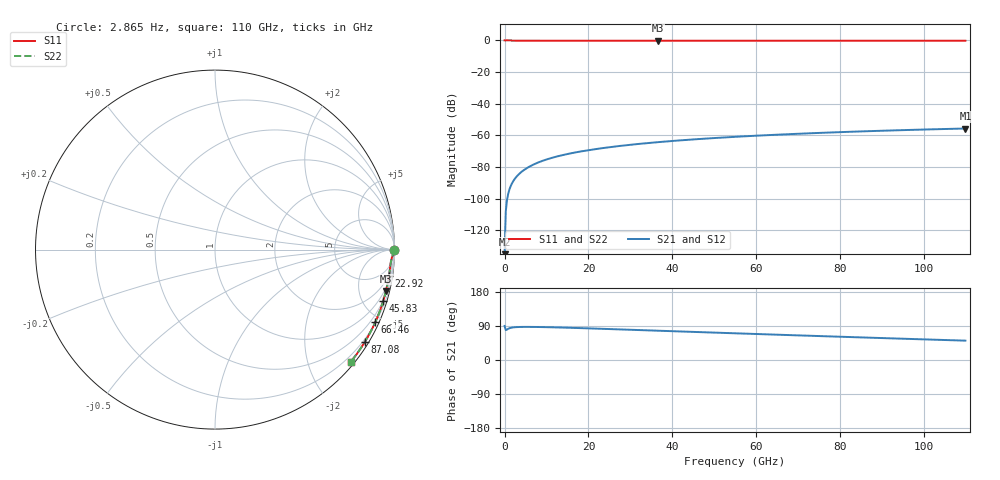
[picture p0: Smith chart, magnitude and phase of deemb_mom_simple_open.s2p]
! Created Mon Apr 12 12:41:52 2010
# hz S ma R 50
! 2 Port Network Data from data block
! freq  magS11  angS11  magS21  angS21  magS12  angS12  magS22  angS22
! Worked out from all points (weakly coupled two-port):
!   76 points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, 2.865 Hz to 110 GHz, reference 50 ohm
!   highest |S21| = -55.65 dB at 110 GHz (marker M1); lowest = -189.4 dB at 28.65 kHz (marker M2)
!   lowest |S11| = -0.2 dB at 36.67 GHz (marker M3), VSWR 98.43, Z = 35.8 - j415 ohm
!   |S11| at or under -10 dB: nowhere
!   |S22| runs from -0.2 to 0.0 dB; largest |S21 - S12| = 0
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2.864583  1 -0.0  3.407e-14 90.0  3.407e-14 90.0  1 -0.0
28645.83  1 -0.0  3.407e-10 90.0  3.407e-10 90.0  1 -0.0
2.434896e9  0.9943 -1.4  4.238e-05 86.5  4.238e-05 86.5  0.9943 -1.4
5.729167e9  0.9861 -2.7  9.996e-05 87.3  9.996e-05 87.3  0.9861 -2.7
6.875e9  0.9846 -3.1  0.0001198 87.2  0.0001198 87.2  0.9846 -3.1
8.020833e9  0.9835 -3.4  0.0001395 87.0  0.0001395 87.0  0.9835 -3.4
9.166667e9  0.9827 -3.8  0.0001592 86.8  0.0001592 86.8  0.9827 -3.8
1.03125e10  0.9821 -4.2  0.0001787 86.6  0.0001787 86.6  0.9821 -4.2
1.260417e10  0.9813 -5.0  0.0002176 85.9  0.0002176 85.9  0.9813 -5.0
1.489583e10  0.9808 -5.8  0.0002562 85.2  0.0002562 85.2  0.9808 -5.8
1.71875e10  0.9805 -6.6  0.0002945 84.5  0.0002945 84.5  0.9805 -6.6
2.291667e10  0.9801 -8.7  0.0003894 82.4  0.0003894 82.4  0.9801 -8.7
2.75e10  0.98 -10.3  0.0004646 80.7  0.0004646 80.7  0.98 -10.3
3.208333e10  0.9799 -12.0  0.0005391 79.0  0.0005391 79.0  0.9799 -12.0
3.666667e10  0.9799 -13.6  0.0006131 77.3  0.0006131 77.3  0.9799 -13.6
4.583333e10  0.9799 -17.0  0.0007587 73.9  0.0007587 73.9  0.9799 -17.0
5.729167e10  0.98 -21.1  0.0009359 69.6  0.0009359 69.6  0.98 -21.1
6.645833e10  0.9801 -24.4  0.001073 66.3  0.001073 66.3  0.9801 -24.4
7.5625e10  0.9803 -27.6  0.001205 63.0  0.001205 63.0  0.9803 -27.6
8.708333e10  0.9805 -31.6  0.001363 58.9  0.001363 58.9  0.9805 -31.6
9.166667e10  0.9806 -33.2  0.001424 57.3  0.001424 57.3  0.9805 -33.2
1.1e11  0.9809 -39.5  0.001651 51.1  0.001651 51.1  0.9809 -39.5
